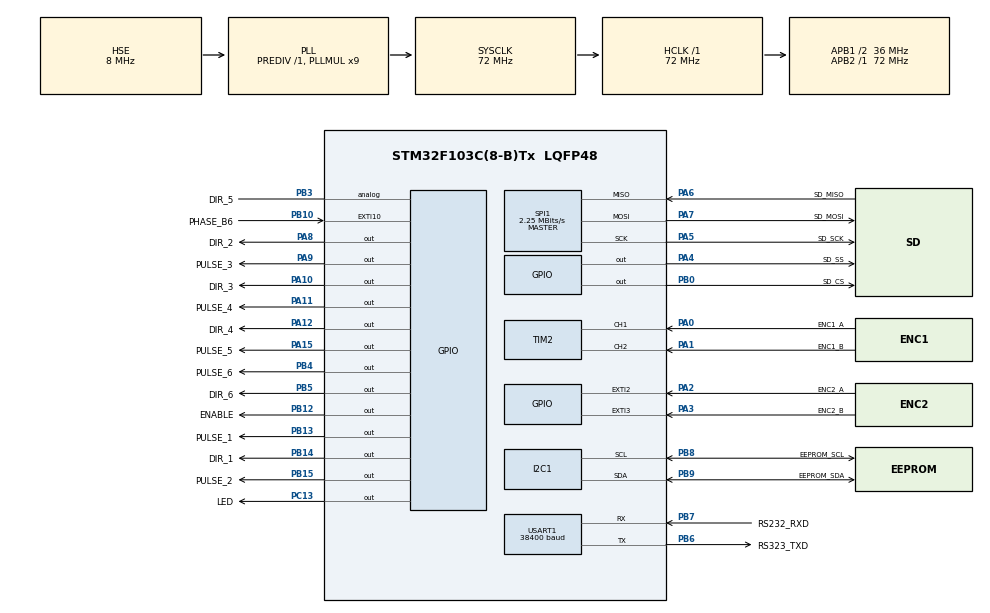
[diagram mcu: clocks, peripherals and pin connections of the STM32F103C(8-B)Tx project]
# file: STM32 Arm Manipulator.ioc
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Dma.Request0=USART1_RX
Dma.USART1_RX.0.Direction=DMA_PERIPH_TO_MEMORY
Dma.USART1_RX.0.Instance=DMA1_Channel5
Dma.USART1_RX.0.MemDataAlignment=DMA_MDATAALIGN_BYTE
Dma.USART1_RX.0.MemInc=DMA_MINC_ENABLE
Dma.USART1_RX.0.Mode=DMA_CIRCULAR
Dma.USART1_RX.0.PeriphDataAlignment=DMA_PDATAALIGN_BYTE
Dma.USART1_RX.0.PeriphInc=DMA_PINC_DISABLE
Dma.USART1_RX.0.Priority=DMA_PRIORITY_HIGH
FATFS._MAX_SS=4096
FATFS._USE_LFN=1
I2C1.I2C_Mode=I2C_Fast
Mcu.Family=STM32F1
Mcu.Name=STM32F103C(8-B)Tx
Mcu.Package=LQFP48
NVIC.DMA1_Channel5_IRQn=true\:0\:0\:false\:false\:true\:false\:true\:true
NVIC.PriorityGroup=NVIC_PRIORITYGROUP_4
NVIC.TIM2_IRQn=true\:0\:0\:false\:false\:true\:true\:true\:true
NVIC.TIM3_IRQn=true\:0\:0\:false\:false\:true\:true\:true\:true
NVIC.USART1_IRQn=true\:0\:0\:false\:false\:true\:true\:true\:true
PA0-WKUP.GPIO_Label=ENC1_A
PA0-WKUP.Signal=S_TIM2_CH1_ETR
PA1.GPIO_Label=ENC1_B
PA1.Signal=S_TIM2_CH2
PA10.GPIO_Label=DIR_3
PA10.Signal=GPIO_Output
PA11.GPIO_Label=PULSE_4
PA11.Signal=GPIO_Output
PA12.GPIO_Label=DIR_4
PA12.Signal=GPIO_Output
PA13.Mode=Serial_Wire
PA13.Signal=SYS_JTMS-SWDIO
PA14.Mode=Serial_Wire
PA14.Signal=SYS_JTCK-SWCLK
PA15.GPIO_Label=PULSE_5
PA15.Signal=GPIO_Output
PA2.GPIO_Label=ENC2_A
PA2.Signal=GPXTI2
PA3.GPIO_Label=ENC2_B
PA3.Signal=GPXTI3
PA4.GPIO_Label=SD_SS
PA4.Signal=GPIO_Output
PA5.GPIO_Label=SD_SCK
PA5.Mode=Full_Duplex_Master
PA5.Signal=SPI1_SCK
PA6.GPIO_Label=SD_MISO
PA6.Mode=Full_Duplex_Master
PA6.Signal=SPI1_MISO
PA7.GPIO_Label=SD_MOSI
PA7.Mode=Full_Duplex_Master
PA7.Signal=SPI1_MOSI
PA8.GPIO_Label=DIR_2
PA8.Signal=GPIO_Output
PA9.GPIO_Label=PULSE_3
PA9.Signal=GPIO_Output
PB0.GPIO_Label=SD_CS
PB0.Signal=GPIO_Output
PB10.GPIO_Label=PHASE_B6
PB10.Signal=GPXTI10
PB12.GPIO_Label=ENABLE
PB12.Signal=GPIO_Output
PB13.GPIO_Label=PULSE_1
PB13.Signal=GPIO_Output
PB14.GPIO_Label=DIR_1
PB14.Signal=GPIO_Output
PB15.GPIO_Label=PULSE_2
PB15.Signal=GPIO_Output
PB3.GPIO_Label=DIR_5
PB3.Signal=GPIO_Analog
PB4.GPIO_Label=PULSE_6
PB4.Signal=GPIO_Output
PB5.GPIO_Label=DIR_6
PB5.Signal=GPIO_Output
PB6.GPIO_Label=RS323_TXD
PB6.Mode=Asynchronous
PB6.Signal=USART1_TX
PB7.GPIO_Label=RS232_RXD
PB7.Mode=Asynchronous
PB7.Signal=USART1_RX
PB8.GPIO_Label=EEPROM_SCL
PB8.Mode=I2C
PB8.Signal=I2C1_SCL
PB9.GPIO_Label=EEPROM_SDA
PB9.Mode=I2C
PB9.Signal=I2C1_SDA
PC13-TAMPER-RTC.GPIO_Label=LED
PC13-TAMPER-RTC.Signal=GPIO_Output
PD0-OSC_IN.Mode=HSE-External-Oscillator
PD0-OSC_IN.Signal=RCC_OSC_IN
PD1-OSC_OUT.Mode=HSE-External-Oscillator
PD1-OSC_OUT.Signal=RCC_OSC_OUT
ProjectManager.HeapSize=0x200
ProjectManager.StackSize=0x400
ProjectManager.TargetToolchain=MDK-ARM V5.32
RCC.AHBFreq_Value=72000000
RCC.APB1CLKDivider=RCC_HCLK_DIV2
RCC.APB1Freq_Value=36000000
RCC.APB1TimFreq_Value=72000000
RCC.APB2Freq_Value=72000000
RCC.APB2TimFreq_Value=72000000
RCC.EnbaleCSS=true
RCC.HCLKFreq_Value=72000000
RCC.PLLMUL=RCC_PLL_MUL9
RCC.PLLSourceVirtual=RCC_PLLSOURCE_HSE
RCC.SYSCLKFreq_VALUE=72000000
RCC.SYSCLKSource=RCC_SYSCLKSOURCE_PLLCLK
RCC.USBFreq_Value=72000000
SH.S_TIM2_CH1_ETR.0=TIM2_CH1,Encoder_Interface
SH.S_TIM2_CH2.0=TIM2_CH2,Encoder_Interface
SPI1.BaudRatePrescaler=SPI_BAUDRATEPRESCALER_32
SPI1.CalculateBaudRate=2.25 MBits/s
SPI1.Direction=SPI_DIRECTION_2LINES
SPI1.Mode=SPI_MODE_MASTER
SPI1.VirtualType=VM_MASTER
TIM3.Period=62499
TIM3.Prescaler=1151
USART1.BaudRate=38400
USART1.VirtualMode=VM_ASYNC
VP_FATFS_VS_Generic.Mode=User_defined
VP_TIM3_VS_ClockSourceINT.Mode=Internal
board=custom

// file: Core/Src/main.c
/* USER CODE BEGIN Header */
/**
  ******************************************************************************
  * @file           : main.c
  * @brief          : Main program body
  ******************************************************************************
  * @attention
  *
  * Copyright (c) 2024 STMicroelectronics.
  * All rights reserved.
  *
  * This software is licensed under terms that can be found in the LICENSE file
  * in the root directory of this software component.
  * If no LICENSE file comes with this software, it is provided AS-IS.
  *
  ******************************************************************************
  */
/* USER CODE END Header */
#include "main.h"
#include "fatfs.h"

/* USER CODE BEGIN Includes */
#include "TB6600_Driver.h"
#include "EEPROM_lib.h"
#include "RS232_Driver.h"

#include "fatfs_sd.h"
#include "string.h"

#include "fonts.h"
#include "ssd1306.h"

#include "stdio.h"
#include "stdlib.h"

#include "math.h"
/* USER CODE END Includes */

/* USER CODE BEGIN PTD */

// EEPROM TYPEDEF
EEPROM_t eeprom1;
EEPROM_t eeprom2;

// RS232 TYPEDEF
Data_Get_t command;

// DRIVER STEPPER TYPEDEF
Driver_t Stepper_Driver1;
Driver_t Stepper_Driver2;
Driver_t Stepper_Driver3;
Driver_t Stepper_Driver4;
Driver_t Stepper_Driver5;
Driver_t Stepper_Driver6;

// OLED MENU TYPEDEF
typedef enum{
	MENU1,	// RS-232 Communication Status
	MENU2,	// EEPROM Available Memory
}Oled_Menu_t;

/* USER CODE END PTD */

/* USER CODE BEGIN PD */

/*SYSTEM CONFIGURATION*/
//----------------------
//#define USE_EEPROM
//#define USE_RS232
//#define USE_OLED
//#define USE_STEPPER
//#define USE_SDCARD
//#define USE_ENCODER
//----------------------

/*EEPROM ADDRESS SET*/
//-----------------------------------
#define EEPROM1_ADDRESS					0xA0	// PRIMARY EEPROM ADDRESS
#define EEPROM2_ADDRESS					0xA1	// SECONDARY EEPROM ADDRESS

#define SP_POS_BYTE_ADDR				0x00	// START POINT POSITION ADDR
#define EP_POS_BYTE_ADDR				0x18	// END POINT POSITION ADDR
#define SP_ANG_BYTE_ADDR				0x30	// START POINT ANGLE ADDR
#define EP_ANG_BYTE_ADDR				0x48	// END POINT ANGLE ADDR
#define PATTERN_BYTE_ADDR				0x60	// PATTERN ADDR
//-----------------------------------

/*EEPROM PATTERN SET*/
//-----------------------------------
#define LINEAR_PATTERN					0x01
#define CIRCULAR_PATTERN				0x02
#define ZIGZAG_PATTERN					0x03
//-----------------------------------

/*ROBOT TEST SET*/
//-------------------
//#define EEPROM_TEST
#define RS232_TEST
//#define STEPPER_TEST
//#define SDCARD_TEST
//#define ENCODER_TEST
//#define OLED_TEST
//-------------------

/* USER CODE END PD */

I2C_HandleTypeDef hi2c1;

SPI_HandleTypeDef hspi1;

TIM_HandleTypeDef htim2;
TIM_HandleTypeDef htim3;

UART_HandleTypeDef huart1;
DMA_HandleTypeDef hdma_usart1_rx;

/* USER CODE BEGIN PV */

/*EEPROM VARIABLE*/
////////////////////////////////////////
double
array_pos_start[3],
array_pos_end[3],
array_ang_start[6],
array_ang_end[6];

uint8_t
page_data_byte[128],

saved_pos[24], read_saved_pos[24],
read_saved_posX[8],
read_saved_posY[8],
read_saved_posZ[8],

saved_angle[48], read_saved_angle[48],
read_saved_angle1[8],
read_saved_angle2[8],
read_saved_angle3[8],
read_saved_angle4[8],
read_saved_angle5[8],
read_saved_angle6[8],

welding_pattern,
read_saved_pattern[1];
////////////////////////////////////////

/*MOVE VARIABLE*/
///////////////////
double
current_position[3],
move_position[3],
prev_position[3],
delta_move_pos[3],

current_angle[6],
move_angle[6],
delta_move_ang[6],
prev_angle[6];

uint8_t
current_point,
current_speed;
///////////////////

/*RS232 VARIABLE*/
///////////////////
uint8_t
rx_savepoint,
rx_patterntype[200],
rx_pointtype,
rx_rotate_mode,
rx_rotate_value[8];
///////////////////

/*OLED VARIABLE*/
/////////////////////////
uint8_t selected_menu;

char
title[] = "WELDING ARM V1";
/////////////////////////

/* USER CODE END PV */

void SystemClock_Config(void);
static void MX_GPIO_Init(void);
static void MX_DMA_Init(void);
static void MX_USART1_UART_Init(void);
static void MX_I2C1_Init(void);
static void MX_SPI1_Init(void);
static void MX_TIM2_Init(void);
static void MX_TIM3_Init(void);
/* USER CODE BEGIN PFP */

/*EEPROM CUSTOM FUNCTION*/
//----------------------------------------------------------------------------------------------------------
void Save_WeldingPoint_Position(uint16_t welding_point, uint8_t start_addr, double* pos_data, size_t size);
void Read_WeldingPoint_Position(uint16_t welding_point, uint8_t start_addr, double* stored_data, size_t size);

void Save_WeldingPoint_Angle(uint16_t welding_point, uint8_t start_addr, double* angle_data, size_t size);
void Read_WeldingPoint_Angle(uint16_t welding_point, uint8_t start_addr, double* stored_data, size_t size);

void Save_WeldingPoint_Pattern(uint16_t welding_point, uint8_t select_pattern);
void Read_WeldingPoint_Pattern(uint16_t welding_point, uint8_t store_pattern);

void Read_All_WeldingDataBuyte(uint16_t welding_point);

uint16_t Check_Free_WeldingPoint(void);

void Show_Menu(Oled_Menu_t sel_menu);
//----------------------------------------------------------------------------------------------------------

/* USER CODE END PFP */

/* USER CODE BEGIN 0 */

/*OLED MENU CONFIGURATION*/
//------------------------------------------------------------
void HAL_TIM_PeriodElapsedCallback(TIM_HandleTypeDef *htim){
	if(htim->Instance == TIM3) Show_Menu(selected_menu);
}
//------------------------------------------------------------

/*RS232 CONFIGURATION*/
//------------------------------------------------------
uint32_t RS232_state, RS232_err_status;
uint8_t dummy_byte[100];
void HAL_UART_RxCpltCallback(UART_HandleTypeDef *huart){
	Get_command(&command);
	RS232_state = check_state();
	RS232_err_status = check_error();
}
//------------------------------------------------------

/* USER CODE END 0 */

int main(void)
{
  /* USER CODE BEGIN 1 */

	#ifdef USE_STEPPER
	/*--- COFIGURATION FOR STEPPER DRIVER 1 ---*/
	//-------------------------------------------------
	Stepper_Driver1.DIR_PORT = DIR_1_GPIO_Port;
	Stepper_Driver1.DIR_PIN = DIR_1_Pin;
	Stepper_Driver1.PULSE_PORT = PULSE_1_GPIO_Port;
	Stepper_Driver1.PULSE_PIN = PULSE_1_Pin;
	Stepper_Driver1.ENA_PORT = ENABLE_GPIO_Port;
	Stepper_Driver1.ENA_PIN = ENABLE_Pin;
	Stepper_Driver1.driver_step = 800;
	Driver_set_power(&Stepper_Driver1, DRIVER_ENABLE);
	//-------------------------------------------------

	/*--- COFIGURATION FOR STEPPER DRIVER 2 ---*/
	//-------------------------------------------------
	Stepper_Driver2.DIR_PORT = DIR_2_GPIO_Port;
	Stepper_Driver2.DIR_PIN = DIR_2_Pin;
	Stepper_Driver2.PULSE_PORT = PULSE_2_GPIO_Port;
	Stepper_Driver2.PULSE_PIN = PULSE_2_Pin;
	Stepper_Driver2.ENA_PORT = ENABLE_GPIO_Port;
	Stepper_Driver2.ENA_PIN = ENABLE_Pin;
	Stepper_Driver2.driver_step = 800;
	Driver_set_power(&Stepper_Driver2, DRIVER_ENABLE);
	//-------------------------------------------------

	/*--- COFIGURATION FOR STEPPER DRIVER 3 ---*/
	//-------------------------------------------------
	Stepper_Driver3.DIR_PORT = DIR_3_GPIO_Port;
	Stepper_Driver3.DIR_PIN = DIR_3_Pin;
	Stepper_Driver3.PULSE_PORT = PULSE_3_GPIO_Port;
	Stepper_Driver3.PULSE_PIN = PULSE_3_Pin;
	Stepper_Driver3.ENA_PORT = ENABLE_GPIO_Port;
	Stepper_Driver3.ENA_PIN = ENABLE_Pin;
	Stepper_Driver3.driver_step = 800;
	Driver_set_power(&Stepper_Driver3, DRIVER_ENABLE);
	//-------------------------------------------------

	/*--- COFIGURATION FOR STEPPER DRIVER 4 ---*/
	//-------------------------------------------------
	Stepper_Driver4.DIR_PORT = DIR_4_GPIO_Port;
	Stepper_Driver4.DIR_PIN = DIR_4_Pin;
	Stepper_Driver4.PULSE_PORT = PULSE_4_GPIO_Port;
	Stepper_Driver4.PULSE_PIN = PULSE_4_Pin;
	Stepper_Driver4.ENA_PORT = ENABLE_GPIO_Port;
	Stepper_Driver4.ENA_PIN = ENABLE_Pin;
	Stepper_Driver4.driver_step = 800;
	Driver_set_power(&Stepper_Driver4, DRIVER_ENABLE);
	//-------------------------------------------------

	/*--- COFIGURATION FOR STEPPER DRIVER 5 ---*/
	//-------------------------------------------------
	Stepper_Driver5.DIR_PORT = DIR_5_GPIO_Port;
	Stepper_Driver5.DIR_PIN = DIR_5_Pin;
	Stepper_Driver5.PULSE_PORT = PULSE_5_GPIO_Port;
	Stepper_Driver5.PULSE_PIN = PULSE_5_Pin;
	Stepper_Driver5.ENA_PORT = ENABLE_GPIO_Port;
	Stepper_Driver5.ENA_PIN = ENABLE_Pin;
	Stepper_Driver5.driver_step = 800;
	Driver_set_power(&Stepper_Driver5, DRIVER_ENABLE);
	//-------------------------------------------------

	/*--- COFIGURATION FOR STEPPER DRIVER 6 ---*/
	//-------------------------------------------------
	Stepper_Driver6.DIR_PORT = DIR_6_GPIO_Port;
	Stepper_Driver6.DIR_PIN = DIR_6_Pin;
	Stepper_Driver6.PULSE_PORT = PULSE_6_GPIO_Port;
	Stepper_Driver6.PULSE_PIN = PULSE_6_Pin;
	Stepper_Driver6.ENA_PORT = ENABLE_GPIO_Port;
	Stepper_Driver6.ENA_PIN = ENABLE_Pin;
	Stepper_Driver6.driver_step = 800;
	Driver_set_power(&Stepper_Driver6, DRIVER_ENABLE);
	//-------------------------------------------------
	#endif

  /* USER CODE END 1 */

  /* MCU Configuration--------------------------------------------------------*/

  /* Reset of all peripherals, Initializes the Flash interface and the Systick. */
  HAL_Init();

  /* Configure the system clock */
  SystemClock_Config();

  /* Initialize all configured peripherals */
  MX_GPIO_Init();
  MX_DMA_Init();
  MX_USART1_UART_Init();
  MX_I2C1_Init();
  MX_SPI1_Init();
  MX_FATFS_Init();
  MX_TIM2_Init();
  MX_TIM3_Init();
  /* USER CODE BEGIN 2 */

	/*EEPROM CONFIGURATION*/
	#ifdef USE_EEPROM
	EEPROM_Init(&hi2c1, &eeprom1, MEM_SIZE_512Kb, EEPROM1_ADDRESS);
	EEPROM_Init(&hi2c1, &eeprom2, MEM_SIZE_512Kb, EEPROM2_ADDRESS);
	#endif

	/*RS232 COM CONFIGURATION*/
	#ifdef USE_RS232
	RS232_Init(&huart1);
	Start_get_command();
	#endif

	/*OLED CONFIGURATION*/
	#ifdef USE_OLED
	SSD1306_Init ();
	HAL_TIM_Base_Start_IT(&htim3);
	#endif

	/*ENCODER CONFIGURATION*/
	#ifdef USE_ENCODER

	#endif

	/*EEPROM TEST*/
	#ifdef EEPROM_TEST
//	for(int i=0; i<512; i++){
//		EEPROM_PageReset(&eeprom1, i);
//		HAL_Delay(50);
//	}

	double
	test_pos_start[3] = {-40.96, 12.15, -37.42},
	test_pos_end[3] = {-20.96, 2.15, -37.42},
	test_angle_start[6] = {70.55, -45.5, 90.58, 150.45, 55.17, 178.77},
	test_angle_end[6] = {60, -20, 70.25, 115.62, 66.18, 122.76};

	Save_WeldingPoint_Position(0x00, SP_POS_BYTE_ADDR, test_pos_start, sizeof(test_pos_start));
	Save_WeldingPoint_Position(0x00, EP_POS_BYTE_ADDR, test_pos_end, sizeof(test_pos_end));
	Save_WeldingPoint_Angle(0x00, SP_ANG_BYTE_ADDR, test_angle_start, sizeof(test_angle_start));
	Save_WeldingPoint_Angle(0x00, EP_ANG_BYTE_ADDR, test_angle_end, sizeof(test_angle_end));
	Save_WeldingPoint_Pattern(0x00, LINEAR_PATTERN);
	HAL_Delay(500);
	Read_WeldingPoint_Position(0x00, SP_POS_BYTE_ADDR, array_pos_start, sizeof(array_pos_start));
	Read_WeldingPoint_Position(0x00, EP_POS_BYTE_ADDR, array_pos_end, sizeof(array_pos_end));
	Read_WeldingPoint_Angle(0x00, SP_ANG_BYTE_ADDR, array_ang_start, sizeof(array_ang_start));
	Read_WeldingPoint_Angle(0x00, EP_ANG_BYTE_ADDR, array_ang_end, sizeof(array_ang_end));
	Read_WeldingPoint_Pattern(0x00, welding_pattern);
	HAL_Delay(500);
	Read_All_WeldingDataBuyte(0x00);
  #endif
  /* USER CODE END 2 */

  /* Infinite loop */
  /* USER CODE BEGIN WHILE */
  while (1)
  {
		#ifdef RS232_TEST
//		for(int i=0; i<6; i++){
//			if(i<3) current_position[i] = test_pos_start[i] + move_position[i];
//			current_angle[i]  = test_angle_start[i] + move_angle[i];
//		}

		if(command.type == AUTO_HOME){
			HAL_GPIO_WritePin(LED_GPIO_Port, LED_Pin, GPIO_PIN_SET);
		}

		else if(command.type == MAPPING){

		}

		else if(command.type == PREVIEW){

		}

		else if(command.type == MOVE){
			if(command.control_mode == CARTESIAN_CTRL){
				move_position[command.move_variable-1] = command.move_value;
			}

			else if(command.control_mode == JOINT_CTRL){
				move_angle[command.move_variable-4] = command.move_value;
			}
		}

		else if(command.type == RUN){
		}

		else if(command.type == REQ_DATA){
			HAL_GPIO_WritePin(LED_GPIO_Port, LED_Pin, GPIO_PIN_SET);
			Send_requested_data(current_position, current_angle, current_point, NOT_SET, current_speed);
		}

		else if(command.type == SEND_REQ){
		}

		else if(command.type == MOTOR_STATE){
		}

		else if(command.type == WELDER_STATE){
		}

		else if(command.type == FEEDBACK){
		}

		else if(command.type == NONE){
		}

		else HAL_GPIO_WritePin(LED_GPIO_Port, LED_Pin, GPIO_PIN_RESET);
		#endif

		#ifdef OLED_TEST
		selected_menu = MENU1;
		#endif
    /* USER CODE END WHILE */

  }
}

void SystemClock_Config(void)
{
  RCC_OscInitTypeDef RCC_OscInitStruct = {0};
  RCC_ClkInitTypeDef RCC_ClkInitStruct = {0};

  /** Initializes the RCC Oscillators according to the specified parameters
  * in the RCC_OscInitTypeDef structure.
  */
  RCC_OscInitStruct.OscillatorType = RCC_OSCILLATORTYPE_HSE;
  RCC_OscInitStruct.HSEState = RCC_HSE_ON;
  RCC_OscInitStruct.HSEPredivValue = RCC_HSE_PREDIV_DIV1;
  RCC_OscInitStruct.HSIState = RCC_HSI_ON;
  RCC_OscInitStruct.PLL.PLLState = RCC_PLL_ON;
  RCC_OscInitStruct.PLL.PLLSource = RCC_PLLSOURCE_HSE;
  RCC_OscInitStruct.PLL.PLLMUL = RCC_PLL_MUL9;
  if (HAL_RCC_OscConfig(&RCC_OscInitStruct) != HAL_OK)
  {
    Error_Handler();
  }

  /** Initializes the CPU, AHB and APB buses clocks
  */
  RCC_ClkInitStruct.ClockType = RCC_CLOCKTYPE_HCLK|RCC_CLOCKTYPE_SYSCLK
                              |RCC_CLOCKTYPE_PCLK1|RCC_CLOCKTYPE_PCLK2;
  RCC_ClkInitStruct.SYSCLKSource = RCC_SYSCLKSOURCE_PLLCLK;
  RCC_ClkInitStruct.AHBCLKDivider = RCC_SYSCLK_DIV1;
  RCC_ClkInitStruct.APB1CLKDivider = RCC_HCLK_DIV2;
  RCC_ClkInitStruct.APB2CLKDivider = RCC_HCLK_DIV1;

  if (HAL_RCC_ClockConfig(&RCC_ClkInitStruct, FLASH_LATENCY_2) != HAL_OK)
  {
    Error_Handler();
  }

  /** Enables the Clock Security System
  */
  HAL_RCC_EnableCSS();
}

static void MX_I2C1_Init(void)
{

  hi2c1.Instance = I2C1;
  hi2c1.Init.ClockSpeed = 400000;
  hi2c1.Init.DutyCycle = I2C_DUTYCYCLE_2;
  hi2c1.Init.OwnAddress1 = 0;
  hi2c1.Init.AddressingMode = I2C_ADDRESSINGMODE_7BIT;
  hi2c1.Init.DualAddressMode = I2C_DUALADDRESS_DISABLE;
  hi2c1.Init.OwnAddress2 = 0;
  hi2c1.Init.GeneralCallMode = I2C_GENERALCALL_DISABLE;
  hi2c1.Init.NoStretchMode = I2C_NOSTRETCH_DISABLE;
  if (HAL_I2C_Init(&hi2c1) != HAL_OK)
  {
    Error_Handler();
  }

}

static void MX_SPI1_Init(void)
{

  /* SPI1 parameter configuration*/
  hspi1.Instance = SPI1;
  hspi1.Init.Mode = SPI_MODE_MASTER;
  hspi1.Init.Direction = SPI_DIRECTION_2LINES;
  hspi1.Init.DataSize = SPI_DATASIZE_8BIT;
  hspi1.Init.CLKPolarity = SPI_POLARITY_LOW;
  hspi1.Init.CLKPhase = SPI_PHASE_1EDGE;
  hspi1.Init.NSS = SPI_NSS_SOFT;
  hspi1.Init.BaudRatePrescaler = SPI_BAUDRATEPRESCALER_32;
  hspi1.Init.FirstBit = SPI_FIRSTBIT_MSB;
  hspi1.Init.TIMode = SPI_TIMODE_DISABLE;
  hspi1.Init.CRCCalculation = SPI_CRCCALCULATION_DISABLE;
  hspi1.Init.CRCPolynomial = 10;
  if (HAL_SPI_Init(&hspi1) != HAL_OK)
  {
    Error_Handler();
  }

}

static void MX_TIM2_Init(void)
{

  TIM_Encoder_InitTypeDef sConfig = {0};
  TIM_MasterConfigTypeDef sMasterConfig = {0};

  htim2.Instance = TIM2;
  htim2.Init.Prescaler = 0;
  htim2.Init.CounterMode = TIM_COUNTERMODE_UP;
  htim2.Init.Period = 65535;
  htim2.Init.ClockDivision = TIM_CLOCKDIVISION_DIV1;
  htim2.Init.AutoReloadPreload = TIM_AUTORELOAD_PRELOAD_DISABLE;
  sConfig.EncoderMode = TIM_ENCODERMODE_TI1;
  sConfig.IC1Polarity = TIM_ICPOLARITY_RISING;
  sConfig.IC1Selection = TIM_ICSELECTION_DIRECTTI;
  sConfig.IC1Prescaler = TIM_ICPSC_DIV1;
  sConfig.IC1Filter = 0;
  sConfig.IC2Polarity = TIM_ICPOLARITY_RISING;
  sConfig.IC2Selection = TIM_ICSELECTION_DIRECTTI;
  sConfig.IC2Prescaler = TIM_ICPSC_DIV1;
  sConfig.IC2Filter = 0;
  if (HAL_TIM_Encoder_Init(&htim2, &sConfig) != HAL_OK)
  {
    Error_Handler();
  }
  sMasterConfig.MasterOutputTrigger = TIM_TRGO_RESET;
  sMasterConfig.MasterSlaveMode = TIM_MASTERSLAVEMODE_DISABLE;
  if (HAL_TIMEx_MasterConfigSynchronization(&htim2, &sMasterConfig) != HAL_OK)
  {
    Error_Handler();
  }

}

static void MX_TIM3_Init(void)
{

  TIM_ClockConfigTypeDef sClockSourceConfig = {0};
  TIM_MasterConfigTypeDef sMasterConfig = {0};

  htim3.Instance = TIM3;
  htim3.Init.Prescaler = 1151;
  htim3.Init.CounterMode = TIM_COUNTERMODE_UP;
  htim3.Init.Period = 62499;
  htim3.Init.ClockDivision = TIM_CLOCKDIVISION_DIV1;
  htim3.Init.AutoReloadPreload = TIM_AUTORELOAD_PRELOAD_DISABLE;
  if (HAL_TIM_Base_Init(&htim3) != HAL_OK)
  {
    Error_Handler();
  }
  sClockSourceConfig.ClockSource = TIM_CLOCKSOURCE_INTERNAL;
  if (HAL_TIM_ConfigClockSource(&htim3, &sClockSourceConfig) != HAL_OK)
  {
    Error_Handler();
  }
  sMasterConfig.MasterOutputTrigger = TIM_TRGO_RESET;
  sMasterConfig.MasterSlaveMode = TIM_MASTERSLAVEMODE_DISABLE;
  if (HAL_TIMEx_MasterConfigSynchronization(&htim3, &sMasterConfig) != HAL_OK)
  {
    Error_Handler();
  }

}

static void MX_USART1_UART_Init(void)
{

  huart1.Instance = USART1;
  huart1.Init.BaudRate = 38400;
  huart1.Init.WordLength = UART_WORDLENGTH_8B;
  huart1.Init.StopBits = UART_STOPBITS_1;
  huart1.Init.Parity = UART_PARITY_NONE;
  huart1.Init.Mode = UART_MODE_TX_RX;
  huart1.Init.HwFlowCtl = UART_HWCONTROL_NONE;
  huart1.Init.OverSampling = UART_OVERSAMPLING_16;
  if (HAL_UART_Init(&huart1) != HAL_OK)
  {
    Error_Handler();
  }

}

static void MX_DMA_Init(void)
{

  /* DMA controller clock enable */
  __HAL_RCC_DMA1_CLK_ENABLE();

  /* DMA interrupt init */
  /* DMA1_Channel5_IRQn interrupt configuration */
  HAL_NVIC_SetPriority(DMA1_Channel5_IRQn, 0, 0);
  HAL_NVIC_EnableIRQ(DMA1_Channel5_IRQn);

}

static void MX_GPIO_Init(void)
{
  GPIO_InitTypeDef GPIO_InitStruct = {0};

  /* GPIO Ports Clock Enable */
  __HAL_RCC_GPIOC_CLK_ENABLE();
  __HAL_RCC_GPIOD_CLK_ENABLE();
  __HAL_RCC_GPIOA_CLK_ENABLE();
  __HAL_RCC_GPIOB_CLK_ENABLE();

  /*Configure GPIO pin Output Level */
  HAL_GPIO_WritePin(LED_GPIO_Port, LED_Pin, GPIO_PIN_RESET);

  /*Configure GPIO pin Output Level */
  HAL_GPIO_WritePin(GPIOA, SD_SS_Pin|DIR_2_Pin|PULSE_3_Pin|DIR_3_Pin
                          |PULSE_4_Pin|DIR_4_Pin|PULSE_5_Pin, GPIO_PIN_RESET);

  /*Configure GPIO pin Output Level */
  HAL_GPIO_WritePin(GPIOB, SD_CS_Pin|ENABLE_Pin|PULSE_1_Pin|DIR_1_Pin
                          |PULSE_2_Pin|PULSE_6_Pin|DIR_6_Pin, GPIO_PIN_RESET);

  /*Configure GPIO pin : LED_Pin */
  GPIO_InitStruct.Pin = LED_Pin;
  GPIO_InitStruct.Mode = GPIO_MODE_OUTPUT_PP;
  GPIO_InitStruct.Pull = GPIO_NOPULL;
  GPIO_InitStruct.Speed = GPIO_SPEED_FREQ_LOW;
  HAL_GPIO_Init(LED_GPIO_Port, &GPIO_InitStruct);

  /*Configure GPIO pins : ENC2_A_Pin ENC2_B_Pin */
  GPIO_InitStruct.Pin = ENC2_A_Pin|ENC2_B_Pin;
  GPIO_InitStruct.Mode = GPIO_MODE_IT_RISING;
  GPIO_InitStruct.Pull = GPIO_NOPULL;
  HAL_GPIO_Init(GPIOA, &GPIO_InitStruct);

  /*Configure GPIO pins : SD_SS_Pin DIR_2_Pin PULSE_3_Pin DIR_3_Pin
                           PULSE_4_Pin DIR_4_Pin PULSE_5_Pin */
  GPIO_InitStruct.Pin = SD_SS_Pin|DIR_2_Pin|PULSE_3_Pin|DIR_3_Pin
                          |PULSE_4_Pin|DIR_4_Pin|PULSE_5_Pin;
  GPIO_InitStruct.Mode = GPIO_MODE_OUTPUT_PP;
  GPIO_InitStruct.Pull = GPIO_NOPULL;
  GPIO_InitStruct.Speed = GPIO_SPEED_FREQ_LOW;
  HAL_GPIO_Init(GPIOA, &GPIO_InitStruct);

  /*Configure GPIO pins : SD_CS_Pin ENABLE_Pin PULSE_1_Pin DIR_1_Pin
                           PULSE_2_Pin PULSE_6_Pin DIR_6_Pin */
  GPIO_InitStruct.Pin = SD_CS_Pin|ENABLE_Pin|PULSE_1_Pin|DIR_1_Pin
                          |PULSE_2_Pin|PULSE_6_Pin|DIR_6_Pin;
  GPIO_InitStruct.Mode = GPIO_MODE_OUTPUT_PP;
  GPIO_InitStruct.Pull = GPIO_NOPULL;
  GPIO_InitStruct.Speed = GPIO_SPEED_FREQ_LOW;
  HAL_GPIO_Init(GPIOB, &GPIO_InitStruct);

  /*Configure GPIO pin : PHASE_B6_Pin */
  GPIO_InitStruct.Pin = PHASE_B6_Pin;
  GPIO_InitStruct.Mode = GPIO_MODE_IT_RISING;
  GPIO_InitStruct.Pull = GPIO_NOPULL;
  HAL_GPIO_Init(PHASE_B6_GPIO_Port, &GPIO_InitStruct);

  /*Configure GPIO pin : DIR_5_Pin */
  GPIO_InitStruct.Pin = DIR_5_Pin;
  GPIO_InitStruct.Mode = GPIO_MODE_ANALOG;
  HAL_GPIO_Init(DIR_5_GPIO_Port, &GPIO_InitStruct);

}

/* USER CODE BEGIN 4 */

/*--- SAVE WELDING POINT POSITION VALUE ---*/
//---------------------------------------------------------------------------------------------------------------------------------------------------------------------------------
void Save_WeldingPoint_Position(uint16_t welding_point, uint8_t start_addr, double* pos_data, size_t size){
	for(int i=0; i<24; i++) saved_pos[i] = 0;
	for(size_t i=0; i<size; i++) memcpy(&saved_pos[i*8], &pos_data[i], sizeof(double));

	EEPROM_PageWrite(&eeprom1, welding_point, start_addr, saved_pos, sizeof(saved_pos));
	HAL_Delay(10);
}
//---------------------------------------------------------------------------------------------------------------------------------------------------------------------------------

/*--- READ WELDING POINT POSITION VALUE ---*/
//---------------------------------------------------------------------------------------------------------------------------------------------------------------------------------
void Read_WeldingPoint_Position(uint16_t welding_point, uint8_t start_addr, double* stored_data, size_t size){
	for(int i=0; i<24; i++) read_saved_pos[i] = 0;
	for(size_t i=0; i<size; i++) stored_data[i] = 0;

	EEPROM_PageRead(&eeprom1, welding_point, start_addr, read_saved_pos, sizeof(read_saved_pos));

	for(int i=0; i<8; i++){
		read_saved_posX[i] = read_saved_pos[i];
		read_saved_posY[i] = read_saved_pos[i+8];
		read_saved_posZ[i] = read_saved_pos[i+16];
	}

	memcpy(&stored_data[0], read_saved_posX, sizeof(double));
	memcpy(&stored_data[1], read_saved_posY, sizeof(double));
	memcpy(&stored_data[2], read_saved_posZ, sizeof(double));
	HAL_Delay(10);
}
//---------------------------------------------------------------------------------------------------------------------------------------------------------------------------------

/*--- SAVE WELDING POINT ANGLE VALUE ---*/
//---------------------------------------------------------------------------------------------------------------------------------------------------------------------------------
void Save_WeldingPoint_Angle(uint16_t welding_point, uint8_t start_addr, double* angle_data, size_t size){
	for(int i=0; i<48; i++) saved_angle[i] = 0;
	for(size_t i=0; i<size; i++) memcpy(&saved_angle[i*8], &angle_data[i], sizeof(double));

	EEPROM_PageWrite(&eeprom1, welding_point, start_addr, saved_angle, sizeof(saved_angle));
	HAL_Delay(10);
}
//---------------------------------------------------------------------------------------------------------------------------------------------------------------------------------

/*--- SAVE WELDING POINT ANGLE VALUE ---*/
//---------------------------------------------------------------------------------------------------------------------------------------------------------------------------------
void Read_WeldingPoint_Angle(uint16_t welding_point, uint8_t start_addr, double* stored_data, size_t size){
	for(int i=0; i<48; i++) read_saved_angle[i] = 0;
	for(size_t i=0; i<size; i++) stored_data[i] = 0;

	EEPROM_PageRead(&eeprom1, welding_point, start_addr, read_saved_angle, sizeof(read_saved_angle));

	for(int i=0; i<8; i++){
		read_saved_angle1[i] = read_saved_angle[i];
		read_saved_angle2[i] = read_saved_angle[i+8];
		read_saved_angle3[i] = read_saved_angle[i+16];
		read_saved_angle4[i] = read_saved_angle[i+24];
		read_saved_angle5[i] = read_saved_angle[i+32];
		read_saved_angle6[i] = read_saved_angle[i+40];
	}

	memcpy(&stored_data[0], read_saved_angle1, sizeof(double));
	memcpy(&stored_data[1], read_saved_angle2, sizeof(double));
	memcpy(&stored_data[2], read_saved_angle3, sizeof(double));
	memcpy(&stored_data[3], read_saved_angle4, sizeof(double));
	memcpy(&stored_data[4], read_saved_angle5, sizeof(double));
	memcpy(&stored_data[5], read_saved_angle6, sizeof(double));
	HAL_Delay(10);
}
//---------------------------------------------------------------------------------------------------------------------------------------------------------------------------------

/*--- SAVE WELDING POINT PATTERN ---*/
//---------------------------------------------------------------------------------------------------------------------------------------------------------------------------------
void Save_WeldingPoint_Pattern(uint16_t welding_point, uint8_t select_pattern){
	EEPROM_ByteWrite(&eeprom1, welding_point, PATTERN_BYTE_ADDR, select_pattern, sizeof(select_pattern));
}
//---------------------------------------------------------------------------------------------------------------------------------------------------------------------------------

/*--- READ WELDING POINT PATTERN ---*/
//---------------------------------------------------------------------------------------------------------------------------------------------------------------------------------
void Read_WeldingPoint_Pattern(uint16_t welding_point, uint8_t store_pattern){
	EEPROM_ByteRead(&eeprom1, welding_point, PATTERN_BYTE_ADDR, read_saved_pattern, sizeof(store_pattern));
	welding_pattern = read_saved_pattern[0];
}
//---------------------------------------------------------------------------------------------------------------------------------------------------------------------------------

/*--- READ ALL WELDING POINT DATA IN BYTE ---*/
//---------------------------------------------------------------------------------------------------------------------------------------------------------------------------------
void Read_All_WeldingDataBuyte(uint16_t welding_point){
	EEPROM_PageRead(&eeprom1, welding_point, 0x00, page_data_byte, sizeof(page_data_byte));
}
//---------------------------------------------------------------------------------------------------------------------------------------------------------------------------------

/*--- CHECK EEPROM FREE WLEDING POINT ---*/
//---------------------------------------------------------------------------------------------------------------------------------------------------------------------------------
uint16_t Check_Free_WeldingPoint(void){
	return 0;
}
//---------------------------------------------------------------------------------------------------------------------------------------------------------------------------------

/*--- SHOW OLED MENU FUNCTION*/
//---------------------------------------------------------------------------------------------------------------------------------------------------------------------------------
void Show_Menu(Oled_Menu_t sel_menu){
	if(sel_menu == MENU1){
		SSD1306_GotoXY(18,10);
		SSD1306_Puts (title, &Font_7x10, SSD1306_COLOR_WHITE);

		SSD1306_GotoXY(48,25);
		SSD1306_Puts("RS232", &Font_7x10, SSD1306_COLOR_WHITE);

		SSD1306_GotoXY(0,50);
		SSD1306_Puts("State:", &Font_7x10, SSD1306_COLOR_WHITE);

		SSD1306_GotoXY(45,50);
		if(RS232_state == 0x00) SSD1306_Puts("reset", &Font_7x10, SSD1306_COLOR_WHITE);
		else if(RS232_state == 0x20) SSD1306_Puts("ready", &Font_7x10, SSD1306_COLOR_WHITE);
		else if(RS232_state == 0x24) SSD1306_Puts("busy", &Font_7x10, SSD1306_COLOR_WHITE);
		else if(RS232_state == 0x21) SSD1306_Puts("busy tx", &Font_7x10, SSD1306_COLOR_WHITE);
		else if(RS232_state == 0x22) SSD1306_Puts("busy rx", &Font_7x10, SSD1306_COLOR_WHITE);
		else if(RS232_state == 0x23) SSD1306_Puts("busy all", &Font_7x10, SSD1306_COLOR_WHITE);
		else if(RS232_state == 0xA0) SSD1306_Puts("timeout", &Font_7x10, SSD1306_COLOR_WHITE);
		else if(RS232_state == 0xE0) SSD1306_Puts("error", &Font_7x10, SSD1306_COLOR_WHITE);

		SSD1306_UpdateScreen();
	}
}
//---------------------------------------------------------------------------------------------------------------------------------------------------------------------------------

/* USER CODE END 4 */

void Error_Handler(void)
{
  __disable_irq();
  while (1)
  {
  }
}
